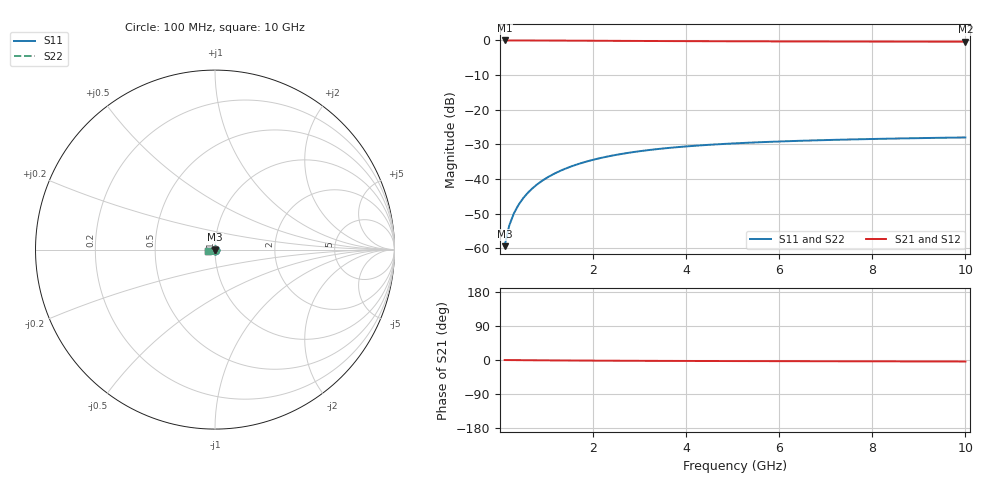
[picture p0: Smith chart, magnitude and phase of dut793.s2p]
! Touchstone file exported from HFSS 2024.1.0
!  File:  C:/UserFiles/LocalFiles/RDL_TSV_Batchsim/temp_TSV1_793_1779875722.aedt
!  Generated:  05:59:18 PM May 27, 2026
!  Design:  TSV1
!  Project:  temp_TSV1_793_1779875722
!  Setup:  Setup1
!  Solution:  Sweep
! Variables:
!  dtsv = 11.19um
!  hbump = 3um
!  htsv = 60.59um
!  lrdl = 252.1521522um
!  p = 40
!  p1 = 45.1um
!  t = 500um
!  trdl = 3um
!  wrdl = 24.89489489um
# GHz S MA R 50.000000
! Terminal data exported
! Port[1] = TSV22_T1
! Port[2] = TSV22_T2
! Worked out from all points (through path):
!   100 points, 100 MHz to 10 GHz, reference 50 ohm
!   highest |S21| = 0.00 dB at 100 MHz (marker M1); lowest = -0.4 dB at 10 GHz (marker M2)
!   lowest |S11| = -59.4 dB at 100 MHz (marker M3), VSWR 1.00, Z = 50 - j0.107 ohm
!   |S11| at or under -10 dB: start of sweep to end of sweep
!   |S22| runs from -59.4 to -28.0 dB; largest |S21 - S12| = 5.1e-15
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0.1  0.001072 -86.3  0.9999 -0.1  0.9999 -0.1  0.001072 -86.3
! Gamma 0 0 0 0
! Port Impedance 50 0 50 0
0.2  0.002134 -90.6  0.9998 -0.2  0.9998 -0.2  0.002134 -90.6
0.3  0.003194 -93.1  0.9996 -0.3  0.9996 -0.3  0.003194 -93.1
0.4  0.004248 -95.2  0.9994 -0.4  0.9994 -0.4  0.004248 -95.2
0.5  0.005294 -97.1  0.9991 -0.5  0.9991 -0.5  0.005294 -97.1
0.6  0.00633 -98.9  0.9988 -0.6  0.9988 -0.6  0.00633 -98.9
0.7  0.007353 -100.6  0.9984 -0.7  0.9984 -0.7  0.007353 -100.6
0.8  0.008363 -102.2  0.9979 -0.8  0.9979 -0.8  0.008363 -102.2
0.9  0.009357 -103.8  0.9974 -0.9  0.9974 -0.9  0.009357 -103.8
1.1  0.01129 -107.0  0.9963 -1.0  0.9963 -1.0  0.01129 -107.0
1.4  0.01404 -111.4  0.9945 -1.3  0.9945 -1.3  0.01404 -111.4
1.6  0.01576 -114.3  0.9931 -1.4  0.9931 -1.4  0.01576 -114.3
1.8  0.01738 -117.0  0.9917 -1.5  0.9917 -1.5  0.01738 -117.0
2.1  0.01964 -120.8  0.9896 -1.7  0.9896 -1.7  0.01964 -120.8
2.5  0.02231 -125.5  0.9867 -1.9  0.9867 -1.9  0.02231 -125.5
2.9  0.02463 -129.8  0.984 -2.1  0.984 -2.1  0.02463 -129.8
3.4  0.02709 -134.6  0.9808 -2.3  0.9808 -2.3  0.02709 -134.6
4.2  0.0302 -141.2  0.9762 -2.6  0.9762 -2.6  0.0302 -141.2
5.1  0.03281 -147.2  0.9721 -2.8  0.9721 -2.8  0.03281 -147.2
6.7  0.03599 -155.6  0.9666 -3.2  0.9666 -3.2  0.03599 -155.6
8.4  0.03825 -162.5  0.9628 -3.6  0.9628 -3.6  0.03825 -162.6
10  0.03978 -168.0  0.9602 -4.0  0.9602 -4.0  0.03979 -168.0
